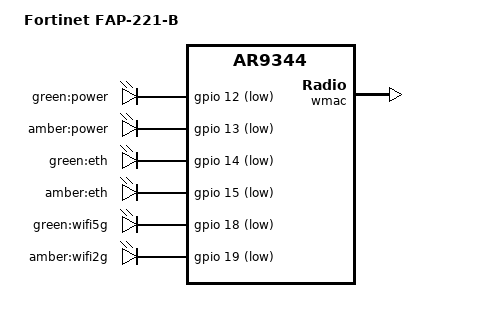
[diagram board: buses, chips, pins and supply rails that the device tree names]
// SPDX-License-Identifier: GPL-2.0-or-later OR MIT

#include "ar9344_fortinet_ap-dual.dtsi"

/ {
	compatible = "fortinet,fap-221-b", "qca,ar9344";
	model = "Fortinet FAP-221-B";

	aliases {
		label-mac-device = <&eth0>;
	};

	leds {
		compatible = "gpio-leds";

		led_power: power_green {
			label = "green:power";
			gpios = <&gpio 12 GPIO_ACTIVE_LOW>;
			default-state = "on";
		};

		power_amber {
			label = "amber:power";
			gpios = <&gpio 13 GPIO_ACTIVE_LOW>;
		};

		eth_green {
			label = "green:eth";
			gpios = <&gpio 14 GPIO_ACTIVE_LOW>;
		};

		eth_amber {
			label = "amber:eth";
			gpios = <&gpio 15 GPIO_ACTIVE_LOW>;
		};

		wifi5g {
			label = "green:wifi5g";
			gpios = <&gpio 18 GPIO_ACTIVE_LOW>;
			linux,default-trigger = "phy0tpt";
		};

		wifi2g {
			label = "amber:wifi2g";
			gpios = <&gpio 19 GPIO_ACTIVE_LOW>;
			linux,default-trigger = "phy1tpt";
		};
	};

	virtual_flash {
		devices = <&fwconcat0 &fwconcat1 &fwconcat2>;
	};
};

&ath9k {
	ieee80211-freq-limit = <2402000 2482000>;

	nvmem-cells = <&calibration_pcie>, <&macaddr_uboot_3ff80 8>;
	nvmem-cell-names = "calibration", "mac-address";
};

&eth0 {
	nvmem-cells = <&macaddr_uboot_3ff80 0>;
	nvmem-cell-names = "mac-address";
};

&wmac {
	ieee80211-freq-limit = <2402000 2482000 4900000 5990000>;

	nvmem-cells = <&calibration_wmac>, <&macaddr_uboot_3ff80 1>;
	nvmem-cell-names = "calibration", "mac-address";
};

&art {
	nvmem-layout {
		compatible = "fixed-layout";
		#address-cells = <1>;
		#size-cells = <1>;

		calibration_wmac: calibration@1000 {
			reg = <0x1000 0x440>;
		};

		calibration_pcie: calibration@5000 {
			reg = <0x5000 0x440>;
		};
	};
};
